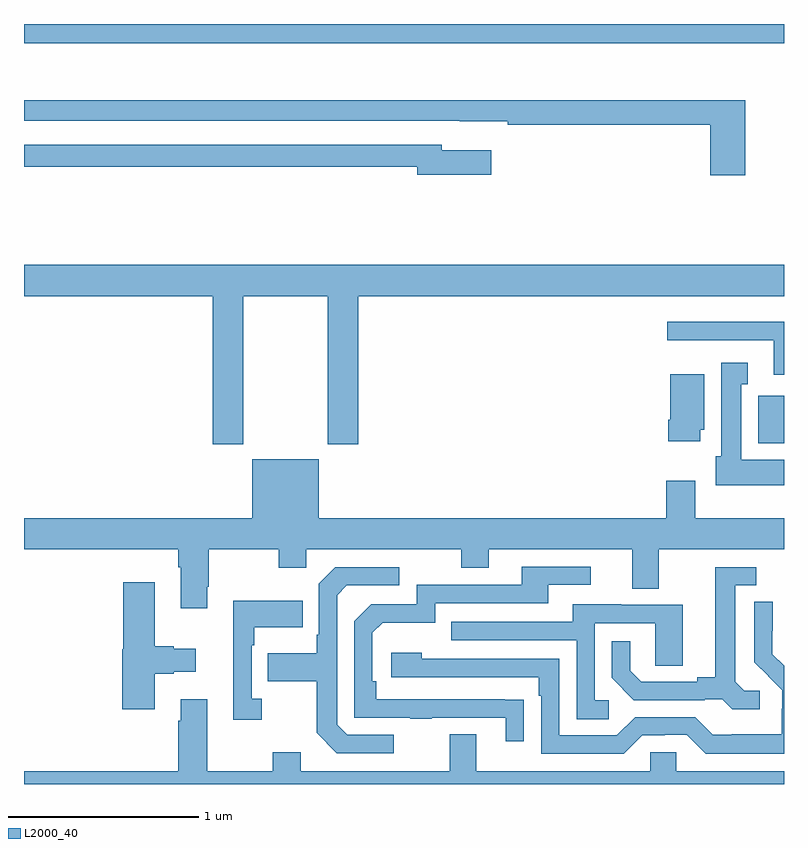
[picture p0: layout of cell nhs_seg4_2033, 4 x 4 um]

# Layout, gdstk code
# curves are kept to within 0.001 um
import gdstk
lib = gdstk.Library(unit=1e-6, precision=1e-09)
def R(c, l, rs):  # rectangles x0, y0, x1, y1
    for r in rs: c.add(gdstk.rectangle(r[:2], r[2:], *l))
def P(c, l, *ps):  # polygons
    for p in ps: c.add(gdstk.Polygon(p, *l))
L2000_40 = (2000, 40)

nhs_seg4_2033 = lib.new_cell('nhs_seg4_2033')
R(nhs_seg4_2033, L2000_40, [(218.865,814.694,219,814.944), (215,816.8,219,816.9)])
P(nhs_seg4_2033, L2000_40, [(218.795,816.499),(215,816.499),(215,816.39),(217.294,816.39),(217.294,816.389),(217.546,816.389),(217.546,816.37),(218.612,816.37),(218.612,816.105),(218.795,816.105)],
  [(217.459,816.235),(217.198,816.235),(217.198,816.264),(215,816.264),(215,816.148),(217.07,816.148),(217.07,816.106),(217.459,816.106)],
  [(216.153,815.468),(216.598,815.468),(216.598,814.689),(216.758,814.689),(216.758,815.468),(219,815.468),(219,815.632),(215,815.632),(215,815.468),(215.993,815.468),(215.993,814.689),(216.153,814.689)],
  [(219,815.332),(218.385,815.332),(218.385,815.235),(218.945,815.235),(218.945,815.054),(219,815.054)],
  [(219,814.606),(218.776,814.606),(218.776,815.003),(218.809,815.003),(218.809,815.116),(218.669,815.116),(218.669,814.626),(218.642,814.626),(218.642,814.472),(219,814.472)],
  [(218.56,814.764),(218.581,814.764),(218.581,815.056),(218.402,815.056),(218.402,814.816),(218.39,814.816),(218.39,814.704),(218.56,814.704)],
  [(215.965,813.937),(215.973,813.937),(215.973,814.136),(216.34,814.136),(216.34,814.037),(216.486,814.037),(216.486,814.136),(217.3,814.136),(217.3,814.037),(217.447,814.037),(217.447,814.136),(218.201,814.136),(218.201,813.928),(218.341,813.928),(218.341,814.136),(219,814.136),(219,814.3),(218.533,814.3),(218.533,814.495),(218.381,814.495),(218.381,814.3),(216.55,814.3),(216.55,814.609),(216.2,814.609),(216.2,814.3),(215,814.3),(215,814.136),(215.813,814.136),(215.813,814.04),(215.825,814.04),(215.825,813.825),(215.965,813.825)],
  [(217.631,813.344),(216.854,813.345),(216.854,813.442),(216.834,813.442),(216.834,813.696),(216.887,813.749),(217.164,813.749),(217.164,813.852),(217.759,813.852),(217.759,813.948),(217.984,813.948),(217.984,814.044),(217.619,814.044),(217.619,813.948),(217.068,813.948),(217.068,813.846),(216.828,813.846),(216.738,813.756),(216.738,813.249),(217.033,813.249),(217.033,813.244),(217.145,813.244),(217.145,813.249),(217.535,813.249),(217.535,813.126),(217.631,813.126)],
  [(216.946,813.159),(216.702,813.159),(216.648,813.213),(216.648,813.894),(216.699,813.945),(216.976,813.945),(216.976,814.041),(216.639,814.041),(216.552,813.954),(216.552,813.685),(216.54,813.685),(216.54,813.589),(216.283,813.589),(216.283,813.442),(216.54,813.442),(216.54,813.169),(216.645,813.063),(216.946,813.063)],
  [(218.872,813.39),(218.79,813.39),(218.743,813.437),(218.743,813.945),(218.854,813.945),(218.854,814.041),(218.639,814.041),(218.639,813.461),(218.543,813.461),(218.543,813.438),(218.248,813.438),(218.191,813.495),(218.191,813.652),(218.094,813.652),(218.094,813.458),(218.21,813.342),(218.582,813.342),(218.582,813.345),(218.676,813.345),(218.728,813.293),(218.872,813.293)],
  [(215.689,813.479),(215.789,813.479),(215.789,813.491),(215.905,813.491),(215.905,813.613),(215.789,813.613),(215.789,813.626),(215.689,813.626),(215.689,813.961),(215.522,813.961),(215.522,813.609),(215.516,813.609),(215.516,813.294),(215.689,813.294)],
  [(216.25,813.35),(216.198,813.35),(216.198,813.629),(216.211,813.629),(216.211,813.725),(216.467,813.725),(216.467,813.865),(216.101,813.865),(216.101,813.237),(216.25,813.237)],
  [(219,813.522),(218.939,813.584),(218.94,813.86),(218.844,813.86),(218.844,813.542),(218.99,813.394),(218.99,813.297),(218.988,813.297),(218.988,813.163),(218.725,813.163),(218.725,813.159),(218.625,813.159),(218.532,813.252),(218.217,813.252),(218.121,813.156),(217.818,813.156),(217.818,813.558),(217.094,813.558),(217.094,813.592),(216.933,813.592),(216.933,813.462),(217.709,813.462),(217.709,813.365),(217.722,813.365),(217.722,813.06),(218.157,813.06),(218.253,813.156),(218.372,813.156),(218.372,813.159),(218.487,813.159),(218.587,813.059),(219,813.059)],
  [(218.077,813.342),(218.004,813.342),(218.004,813.747),(218.322,813.747),(218.322,813.523),(218.467,813.523),(218.467,813.843),(218.143,813.843),(218.143,813.847),(217.889,813.847),(217.889,813.753),(217.249,813.753),(217.249,813.657),(217.908,813.657),(217.908,813.241),(218.077,813.241)],
  [(219,812.968),(218.433,812.968),(218.433,813.066),(218.295,813.066),(218.295,812.968),(217.381,812.968),(217.381,813.163),(217.241,813.163),(217.241,812.968),(216.457,812.968),(216.457,813.067),(216.31,813.067),(216.31,812.968),(215.965,812.968),(215.965,813.346),(215.825,813.346),(215.825,813.233),(215.813,813.233),(215.813,812.968),(215,812.968),(215,812.9),(219,812.9)])

lib.write_gds('nhs_seg4_2033.gds')
